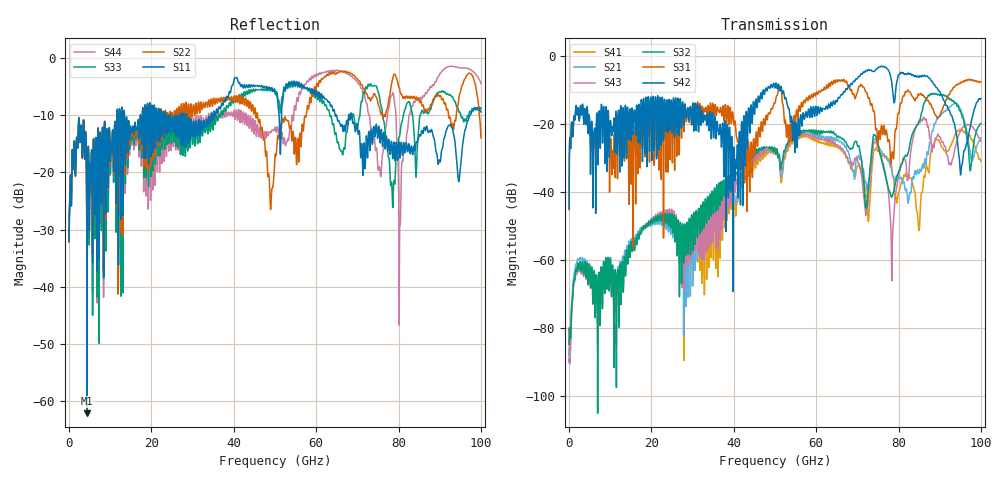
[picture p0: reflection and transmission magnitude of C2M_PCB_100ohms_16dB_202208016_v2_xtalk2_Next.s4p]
! Info: Touchstone file created by Circ.  Input file=Intel_C2M_200G_5p0in_202208016_staggered.circ
# Hz S RI R 50
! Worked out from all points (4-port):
!   10000 points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, 10 MHz to 100 GHz, reference 50 ohm
!   strongest paths, dB at 10 MHz, 25.01 GHz, 50.01 GHz, 75.01 GHz, 100 GHz:
!     S42: -44.9, -19.2, -9.3, -3.5, -12.5
!     S31: -45.1, -21.9, -13.8, -26.2, -7.5
!     S32: -84.6, -46.9, -27.7, -26.1, -19.8
!     S43: -88.9, -45.5, -27.5, -26.8, -25.0
!     S21: -86.1, -48.5, -27.9, -26.1, -24.1
!     S41: -88.2, -47.0, -27.9, -28.0, -30.9
!   lowest |S11| = -62.1 dB at 4.35 GHz (marker M1), VSWR 1.00, Z = 50 + j0.0704 ohm
!   |S11| at or under -10 dB: start of sweep to 11.62 GHz; 28.56 GHz to 34.53 GHz (5.963 GHz wide, 18.9 % of centre); 68.63 GHz to 97.28 GHz (28.65 GHz wide, 34.5 % of centre)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
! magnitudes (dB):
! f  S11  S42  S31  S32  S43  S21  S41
! 10 MHz  -32.1  -44.9  -45.1  -84.6  -88.9  -86.1  -88.2
! 4.35 GHz  -62.1  -14.8  -16.0  -60.9  -63.3  -60.2  -62.2
! 56.52 GHz  -4.7  -20.6  -13.8  -22.4  -23.4  -22.6  -24.0
! 78.41 GHz  -15.6  -8.3  -28.5  -41.4  -62.0  -34.0  -33.3
! 85.17 GHz  -13.5  -5.8  -11.3  -18.8  -19.6  -33.3  -48.4
! 95.17 GHz  -18.3  -33.9  -7.6  -16.4  -21.9  -16.0  -21.9
! 100 GHz  -9.5  -12.5  -7.5  -19.8  -25.0  -24.1  -30.9
